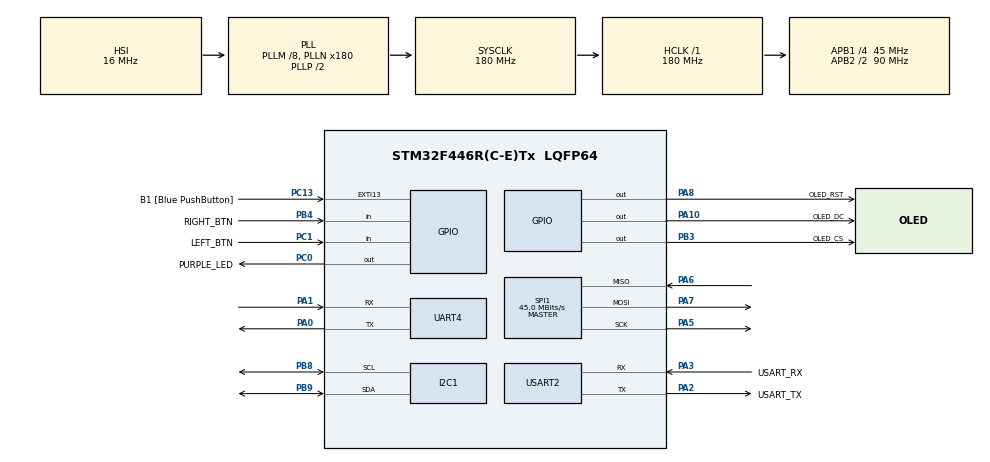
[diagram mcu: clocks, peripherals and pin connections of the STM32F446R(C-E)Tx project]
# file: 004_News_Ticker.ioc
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Dma.Request0=UART4_RX
Dma.UART4_RX.0.Direction=DMA_PERIPH_TO_MEMORY
Dma.UART4_RX.0.FIFOMode=DMA_FIFOMODE_DISABLE
Dma.UART4_RX.0.Instance=DMA1_Stream2
Dma.UART4_RX.0.MemDataAlignment=DMA_MDATAALIGN_BYTE
Dma.UART4_RX.0.MemInc=DMA_MINC_ENABLE
Dma.UART4_RX.0.Mode=DMA_CIRCULAR
Dma.UART4_RX.0.PeriphDataAlignment=DMA_PDATAALIGN_BYTE
Dma.UART4_RX.0.PeriphInc=DMA_PINC_DISABLE
Dma.UART4_RX.0.Priority=DMA_PRIORITY_LOW
Mcu.Family=STM32F4
Mcu.Name=STM32F446R(C-E)Tx
Mcu.Package=LQFP64
NVIC.DMA1_Stream2_IRQn=true\:0\:0\:false\:false\:true\:false\:true\:true
NVIC.PriorityGroup=NVIC_PRIORITYGROUP_4
NVIC.TIM6_DAC_IRQn=true\:15\:0\:false\:false\:true\:false\:true\:true
NVIC.TimeBase=TIM6_DAC_IRQn
NVIC.TimeBaseIP=TIM6
NVIC.UART4_IRQn=true\:0\:0\:false\:false\:true\:true\:true\:true
PA0-WKUP.Mode=Asynchronous
PA0-WKUP.Signal=UART4_TX
PA1.Mode=Asynchronous
PA1.Signal=UART4_RX
PA10.GPIO_Label=OLED_DC
PA10.Signal=GPIO_Output
PA2.GPIO_Label=USART_TX
PA2.Mode=Asynchronous
PA2.Signal=USART2_TX
PA3.GPIO_Label=USART_RX
PA3.Mode=Asynchronous
PA3.Signal=USART2_RX
PA5.Mode=Full_Duplex_Master
PA5.Signal=SPI1_SCK
PA6.Mode=Full_Duplex_Master
PA6.Signal=SPI1_MISO
PA7.Mode=Full_Duplex_Master
PA7.Signal=SPI1_MOSI
PA8.GPIO_Label=OLED_RST
PA8.Signal=GPIO_Output
PB3.GPIO_Label=OLED_CS
PB3.Signal=GPIO_Output
PB4.GPIO_Label=RIGHT_BTN
PB4.Signal=GPIO_Input
PB8.GPIO_Pu=GPIO_PULLUP
PB8.Mode=I2C
PB8.Signal=I2C1_SCL
PB9.GPIO_Pu=GPIO_PULLUP
PB9.Mode=I2C
PB9.Signal=I2C1_SDA
PC0.GPIO_Label=PURPLE_LED
PC0.Signal=GPIO_Output
PC1.GPIO_Label=LEFT_BTN
PC1.Signal=GPIO_Input
PC13.GPIO_Label=B1 [Blue PushButton]
PC13.GPIO_ModeDefaultEXTI=GPIO_MODE_IT_FALLING
PC13.Signal=GPXTI13
PC14-OSC32_IN.Mode=LSE-External-Oscillator
PC14-OSC32_IN.Signal=RCC_OSC32_IN
PC15-OSC32_OUT.Mode=LSE-External-Oscillator
PC15-OSC32_OUT.Signal=RCC_OSC32_OUT
PH0-OSC_IN.Mode=HSE-External-Oscillator
PH0-OSC_IN.Signal=RCC_OSC_IN
PH1-OSC_OUT.Mode=HSE-External-Oscillator
PH1-OSC_OUT.Signal=RCC_OSC_OUT
ProjectManager.HeapSize=0x300
ProjectManager.StackSize=0x600
ProjectManager.TargetToolchain=STM32CubeIDE
RCC.48MHZClocksFreq_Value=84000000
RCC.AHBFreq_Value=180000000
RCC.APB1CLKDivider=RCC_HCLK_DIV4
RCC.APB1Freq_Value=45000000
RCC.APB1TimFreq_Value=90000000
RCC.APB2CLKDivider=RCC_HCLK_DIV2
RCC.APB2Freq_Value=90000000
RCC.APB2TimFreq_Value=180000000
RCC.CortexFreq_Value=180000000
RCC.FLatency-AdvancedSettings=FLASH_LATENCY_5
RCC.HCLKFreq_Value=180000000
RCC.HSE_VALUE=8000000
RCC.HSI_VALUE=16000000
RCC.PLLM=8
RCC.PLLN=180
RCC.SYSCLKFreq_VALUE=180000000
RCC.SYSCLKSource=RCC_SYSCLKSOURCE_PLLCLK
RCC.USBFreq_Value=180000000
RCC.VCOOutputFreq_Value=360000000
SPI1.BaudRatePrescaler=SPI_BAUDRATEPRESCALER_2
SPI1.CalculateBaudRate=45.0 MBits/s
SPI1.Direction=SPI_DIRECTION_2LINES
SPI1.Mode=SPI_MODE_MASTER
SPI1.VirtualType=VM_MASTER
UART4.VirtualMode=Asynchronous
USART2.VirtualMode=VM_ASYNC
VP_SYS_VS_tim6.Mode=TIM6
board=NUCLEO-F446RE

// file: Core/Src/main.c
/* USER CODE BEGIN Header */
/**
 ******************************************************************************
 * @file           : main.c
 * @brief          : Main program body
 ******************************************************************************
 * @attention
 *
 * Copyright (c) 2025 STMicroelectronics.
 * All rights reserved.
 *
 * This software is licensed under terms that can be found in the LICENSE file
 * in the root directory of this software component.
 * If no LICENSE file comes with this software, it is provided AS-IS.
 *
 ******************************************************************************
 */
/* USER CODE END Header */
#include "main.h"

/* USER CODE BEGIN Includes */
#include "esp32_at.h"
#include "app.h"
#include "sh1106.h"
#include "oled_util.h"
/* USER CODE END Includes */

I2C_HandleTypeDef hi2c1;

SPI_HandleTypeDef hspi1;

UART_HandleTypeDef huart4;
UART_HandleTypeDef huart2;
DMA_HandleTypeDef hdma_uart4_rx;

void SystemClock_Config(void);
static void MX_GPIO_Init(void);
static void MX_DMA_Init(void);
static void MX_USART2_UART_Init(void);
static void MX_UART4_Init(void);
static void MX_I2C1_Init(void);
static void MX_SPI1_Init(void);

/* USER CODE BEGIN 0 */

int _write(int file, char *ptr, int len) {
  HAL_UART_Transmit(&huart2, (uint8_t *)ptr, len, HAL_MAX_DELAY);
  return len;
}

// this task receives unsolicited mqtt messages from the aws server

/* USER CODE END 0 */

int main(void)
{

  /* MCU Configuration--------------------------------------------------------*/

  /* Reset of all peripherals, Initializes the Flash interface and the Systick. */
  HAL_Init();

  /* Configure the system clock */
  SystemClock_Config();

  /* Initialize all configured peripherals */
  MX_GPIO_Init();
  MX_DMA_Init();
  MX_USART2_UART_Init();
  MX_UART4_Init();
  MX_I2C1_Init();
  MX_SPI1_Init();
  /* USER CODE BEGIN 2 */

  LogInfo(("Initializing OLED display..."));
   if (sh1106_init(&hspi1) != SH1106_OK) {
     LogError(("Failed to initialize OLED display."));
     Error_Handler();
   }
   LogInfo(("OLED display initialized successfully.\n"));

  /* Step 1:Initialize the ESP32 Wi-Fi module */
  LogInfo(("Initializing Wi-Fi module..."));
  oled_show_status("Wi-Fi Init...");

  if (esp32_init() != ESP32_OK) {
    LogError(("Failed to initialize Wi-Fi module."));
    oled_show_status("Wi-Fi Init Failed!");

    Error_Handler();
  }
  LogInfo(("Wi-Fi module initialized successfully.\n"));
  oled_show_status("Wi-Fi Ready");

#ifndef USE_OTA
  /* Step 2: Connect to Wi-Fi network*/
  LogInfo(("Joining Access Point: '%s' ...", WIFI_SSID));
  /* Keep attempting to connect to the specified Wi-Fi access point until
   * successful */
  while (esp32_join_ap((uint8_t *)WIFI_SSID, (uint8_t *)WIFI_PASSWORD) !=
         ESP32_OK) {
    LogInfo(("Retrying to join Access Point: %s", WIFI_SSID));
    oled_show_status("Wi-Fi Retry...");

  }
  LogInfo(("Successfully joined Access Point: %s", WIFI_SSID));
  oled_show_message("Wi-Fi Connected", WIFI_SSID);

  /* Step 3: Configure SNTP for time synchronization */
  /* Configure Simple Network Time Protocol (SNTP) with a specified server */
  LogInfo(("Configuring SNTP..."));
  oled_show_status("Config SNTP...");
  if (esp32_config_sntp(UTC_OFFSET) != ESP32_OK) {
    LogError(("Failed to configure SNTP."));
    oled_show_status("SNTP Failed!");
    Error_Handler();
  }
  LogInfo(("SNTP configured !"));
  oled_show_status("SNTP Configured");

  /* Retrieve the current time from SNTP */
  sntp_time_t sntp_time;
  oled_show_status("Syncing Time...");
  if (esp32_get_sntp_time(&sntp_time) != ESP32_OK) {
    LogError(("Failed to retrieve current time from SNTP."));
    oled_show_status("Time Sync Failed!");
    Error_Handler();
  }
  LogInfo(("SNTP time retrieved: %s, %02d %s %04d %02d:%02d:%02d",
           sntp_time.day, sntp_time.date, sntp_time.month, sntp_time.year,
           sntp_time.hour, sntp_time.min, sntp_time.sec));
  oled_show_status("Time Synced");

#endif

  if (connect_to_server() < 0) {
      LogError(("Unable to connect to server\n"));
    }
    LogInfo(("Successfully connected the server"));

  /* USER CODE END 2 */

  /* Infinite loop */
  while (1) {
      main_app();
  }
}

void SystemClock_Config(void)
{
  RCC_OscInitTypeDef RCC_OscInitStruct = {0};
  RCC_ClkInitTypeDef RCC_ClkInitStruct = {0};

  /** Configure the main internal regulator output voltage
  */
  __HAL_RCC_PWR_CLK_ENABLE();
  __HAL_PWR_VOLTAGESCALING_CONFIG(PWR_REGULATOR_VOLTAGE_SCALE1);

  /** Initializes the RCC Oscillators according to the specified parameters
  * in the RCC_OscInitTypeDef structure.
  */
  RCC_OscInitStruct.OscillatorType = RCC_OSCILLATORTYPE_HSI;
  RCC_OscInitStruct.HSIState = RCC_HSI_ON;
  RCC_OscInitStruct.HSICalibrationValue = RCC_HSICALIBRATION_DEFAULT;
  RCC_OscInitStruct.PLL.PLLState = RCC_PLL_ON;
  RCC_OscInitStruct.PLL.PLLSource = RCC_PLLSOURCE_HSI;
  RCC_OscInitStruct.PLL.PLLM = 8;
  RCC_OscInitStruct.PLL.PLLN = 180;
  RCC_OscInitStruct.PLL.PLLP = RCC_PLLP_DIV2;
  RCC_OscInitStruct.PLL.PLLQ = 2;
  RCC_OscInitStruct.PLL.PLLR = 2;
  if (HAL_RCC_OscConfig(&RCC_OscInitStruct) != HAL_OK)
  {
    Error_Handler();
  }

  /** Activate the Over-Drive mode
  */
  if (HAL_PWREx_EnableOverDrive() != HAL_OK)
  {
    Error_Handler();
  }

  /** Initializes the CPU, AHB and APB buses clocks
  */
  RCC_ClkInitStruct.ClockType = RCC_CLOCKTYPE_HCLK|RCC_CLOCKTYPE_SYSCLK
                              |RCC_CLOCKTYPE_PCLK1|RCC_CLOCKTYPE_PCLK2;
  RCC_ClkInitStruct.SYSCLKSource = RCC_SYSCLKSOURCE_PLLCLK;
  RCC_ClkInitStruct.AHBCLKDivider = RCC_SYSCLK_DIV1;
  RCC_ClkInitStruct.APB1CLKDivider = RCC_HCLK_DIV4;
  RCC_ClkInitStruct.APB2CLKDivider = RCC_HCLK_DIV2;

  if (HAL_RCC_ClockConfig(&RCC_ClkInitStruct, FLASH_LATENCY_5) != HAL_OK)
  {
    Error_Handler();
  }
}

static void MX_I2C1_Init(void)
{

  hi2c1.Instance = I2C1;
  hi2c1.Init.ClockSpeed = 100000;
  hi2c1.Init.DutyCycle = I2C_DUTYCYCLE_2;
  hi2c1.Init.OwnAddress1 = 0;
  hi2c1.Init.AddressingMode = I2C_ADDRESSINGMODE_7BIT;
  hi2c1.Init.DualAddressMode = I2C_DUALADDRESS_DISABLE;
  hi2c1.Init.OwnAddress2 = 0;
  hi2c1.Init.GeneralCallMode = I2C_GENERALCALL_DISABLE;
  hi2c1.Init.NoStretchMode = I2C_NOSTRETCH_DISABLE;
  if (HAL_I2C_Init(&hi2c1) != HAL_OK)
  {
    Error_Handler();
  }

}

static void MX_SPI1_Init(void)
{

  /* SPI1 parameter configuration*/
  hspi1.Instance = SPI1;
  hspi1.Init.Mode = SPI_MODE_MASTER;
  hspi1.Init.Direction = SPI_DIRECTION_2LINES;
  hspi1.Init.DataSize = SPI_DATASIZE_8BIT;
  hspi1.Init.CLKPolarity = SPI_POLARITY_LOW;
  hspi1.Init.CLKPhase = SPI_PHASE_1EDGE;
  hspi1.Init.NSS = SPI_NSS_SOFT;
  hspi1.Init.BaudRatePrescaler = SPI_BAUDRATEPRESCALER_2;
  hspi1.Init.FirstBit = SPI_FIRSTBIT_MSB;
  hspi1.Init.TIMode = SPI_TIMODE_DISABLE;
  hspi1.Init.CRCCalculation = SPI_CRCCALCULATION_DISABLE;
  hspi1.Init.CRCPolynomial = 10;
  if (HAL_SPI_Init(&hspi1) != HAL_OK)
  {
    Error_Handler();
  }

}

static void MX_UART4_Init(void)
{

  huart4.Instance = UART4;
  huart4.Init.BaudRate = 115200;
  huart4.Init.WordLength = UART_WORDLENGTH_8B;
  huart4.Init.StopBits = UART_STOPBITS_1;
  huart4.Init.Parity = UART_PARITY_NONE;
  huart4.Init.Mode = UART_MODE_TX_RX;
  huart4.Init.HwFlowCtl = UART_HWCONTROL_NONE;
  huart4.Init.OverSampling = UART_OVERSAMPLING_16;
  if (HAL_UART_Init(&huart4) != HAL_OK)
  {
    Error_Handler();
  }

}

static void MX_USART2_UART_Init(void)
{

  huart2.Instance = USART2;
  huart2.Init.BaudRate = 115200;
  huart2.Init.WordLength = UART_WORDLENGTH_8B;
  huart2.Init.StopBits = UART_STOPBITS_1;
  huart2.Init.Parity = UART_PARITY_NONE;
  huart2.Init.Mode = UART_MODE_TX_RX;
  huart2.Init.HwFlowCtl = UART_HWCONTROL_NONE;
  huart2.Init.OverSampling = UART_OVERSAMPLING_16;
  if (HAL_UART_Init(&huart2) != HAL_OK)
  {
    Error_Handler();
  }

}

static void MX_DMA_Init(void)
{

  /* DMA controller clock enable */
  __HAL_RCC_DMA1_CLK_ENABLE();

  /* DMA interrupt init */
  /* DMA1_Stream2_IRQn interrupt configuration */
  HAL_NVIC_SetPriority(DMA1_Stream2_IRQn, 0, 0);
  HAL_NVIC_EnableIRQ(DMA1_Stream2_IRQn);

}

static void MX_GPIO_Init(void)
{
  GPIO_InitTypeDef GPIO_InitStruct = {0};

  /* GPIO Ports Clock Enable */
  __HAL_RCC_GPIOC_CLK_ENABLE();
  __HAL_RCC_GPIOH_CLK_ENABLE();
  __HAL_RCC_GPIOA_CLK_ENABLE();
  __HAL_RCC_GPIOB_CLK_ENABLE();

  /*Configure GPIO pin Output Level */
  HAL_GPIO_WritePin(PURPLE_LED_GPIO_Port, PURPLE_LED_Pin, GPIO_PIN_RESET);

  /*Configure GPIO pin Output Level */
  HAL_GPIO_WritePin(GPIOA, OLED_RST_Pin|OLED_DC_Pin, GPIO_PIN_RESET);

  /*Configure GPIO pin Output Level */
  HAL_GPIO_WritePin(OLED_CS_GPIO_Port, OLED_CS_Pin, GPIO_PIN_RESET);

  /*Configure GPIO pin : B1_Pin */
  GPIO_InitStruct.Pin = B1_Pin;
  GPIO_InitStruct.Mode = GPIO_MODE_IT_FALLING;
  GPIO_InitStruct.Pull = GPIO_NOPULL;
  HAL_GPIO_Init(B1_GPIO_Port, &GPIO_InitStruct);

  /*Configure GPIO pin : PURPLE_LED_Pin */
  GPIO_InitStruct.Pin = PURPLE_LED_Pin;
  GPIO_InitStruct.Mode = GPIO_MODE_OUTPUT_PP;
  GPIO_InitStruct.Pull = GPIO_NOPULL;
  GPIO_InitStruct.Speed = GPIO_SPEED_FREQ_LOW;
  HAL_GPIO_Init(PURPLE_LED_GPIO_Port, &GPIO_InitStruct);

  /*Configure GPIO pin : LEFT_BTN_Pin */
  GPIO_InitStruct.Pin = LEFT_BTN_Pin;
  GPIO_InitStruct.Mode = GPIO_MODE_INPUT;
  GPIO_InitStruct.Pull = GPIO_NOPULL;
  HAL_GPIO_Init(LEFT_BTN_GPIO_Port, &GPIO_InitStruct);

  /*Configure GPIO pins : OLED_RST_Pin OLED_DC_Pin */
  GPIO_InitStruct.Pin = OLED_RST_Pin|OLED_DC_Pin;
  GPIO_InitStruct.Mode = GPIO_MODE_OUTPUT_PP;
  GPIO_InitStruct.Pull = GPIO_NOPULL;
  GPIO_InitStruct.Speed = GPIO_SPEED_FREQ_LOW;
  HAL_GPIO_Init(GPIOA, &GPIO_InitStruct);

  /*Configure GPIO pin : OLED_CS_Pin */
  GPIO_InitStruct.Pin = OLED_CS_Pin;
  GPIO_InitStruct.Mode = GPIO_MODE_OUTPUT_PP;
  GPIO_InitStruct.Pull = GPIO_NOPULL;
  GPIO_InitStruct.Speed = GPIO_SPEED_FREQ_LOW;
  HAL_GPIO_Init(OLED_CS_GPIO_Port, &GPIO_InitStruct);

  /*Configure GPIO pin : RIGHT_BTN_Pin */
  GPIO_InitStruct.Pin = RIGHT_BTN_Pin;
  GPIO_InitStruct.Mode = GPIO_MODE_INPUT;
  GPIO_InitStruct.Pull = GPIO_NOPULL;
  HAL_GPIO_Init(RIGHT_BTN_GPIO_Port, &GPIO_InitStruct);

}

void HAL_TIM_PeriodElapsedCallback(TIM_HandleTypeDef *htim)
{
  if (htim->Instance == TIM6)
  {
    HAL_IncTick();
  }
}

void Error_Handler(void)
{
  __disable_irq();
  while (1) {
  }
}
#ifdef USE_FULL_ASSERT
/**
  * @brief  Reports the name of the source file and the source line number
  *         where the assert_param error has occurred.
  * @param  file: pointer to the source file name
  * @param  line: assert_param error line source number
  * @retval None
  */
void assert_failed(uint8_t *file, uint32_t line)
{
  /* USER CODE BEGIN 6 */
  /* User can add his own implementation to report the file name and line
     number,
     ex: printf("Wrong parameters value: file %s on line %d\r\n", file, line) */
  /* USER CODE END 6 */
}
#endif /* USE_FULL_ASSERT */
